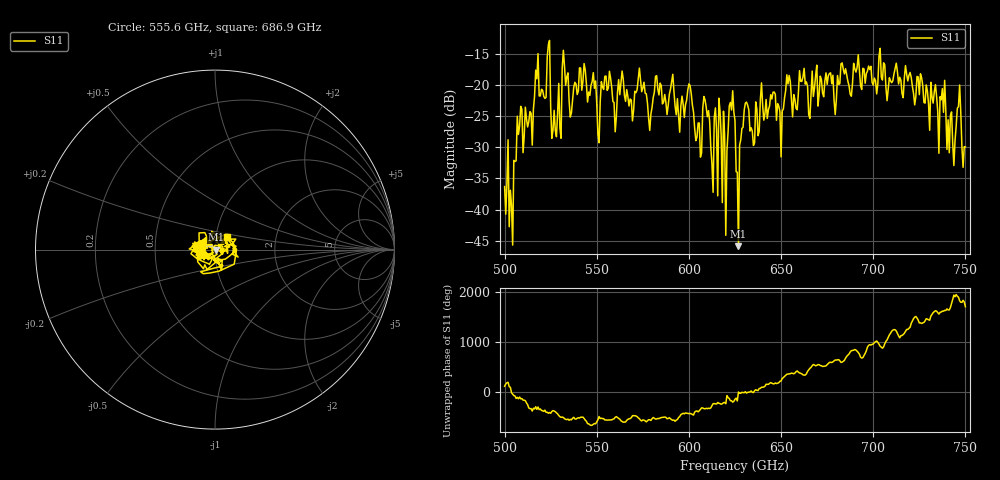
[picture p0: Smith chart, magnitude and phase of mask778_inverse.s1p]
!Created with skrf (http://scikit-rf.org).
# GHz S MA R 50.0
!freq magS11 angS11
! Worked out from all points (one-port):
!   401 points, 500 GHz to 750 GHz, reference 50 ohm
!   lowest |S11| = -45.8 dB at 626.9 GHz (marker M1), VSWR 1.01, Z = 50.5 + j0.0416 ohm
!   |S11| at or under -10 dB: start of sweep to end of sweep
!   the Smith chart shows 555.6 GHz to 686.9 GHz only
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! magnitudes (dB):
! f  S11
! 500 GHz  -36.3
! 503.8 GHz  -39.3
! 508.1 GHz  -26.6
! 513.8 GHz  -24.3
! 517.5 GHz  -19.0
! 523.8 GHz  -13.6
! 526.9 GHz  -24.1
! 531.2 GHz  -17.4
! 542.5 GHz  -19.4
! 551.2 GHz  -29.3
! 562.5 GHz  -21.6
! 593.8 GHz  -22.2
! 600.6 GHz  -20.1
! 605.6 GHz  -26.1
! 609.4 GHz  -23.6
! 619.4 GHz  -28.1
! 623.1 GHz  -24.0
! 625 GHz  -25.8
! 626.9 GHz  -45.8
! 631.2 GHz  -22.8
! 634.4 GHz  -27.4
! 656.2 GHz  -25.1
! 687.5 GHz  -21.5
! 718.8 GHz  -19.4
! 737.5 GHz  -20.6
! 742.5 GHz  -24.4
! 746.2 GHz  -23.5
! 750 GHz  -30.0
